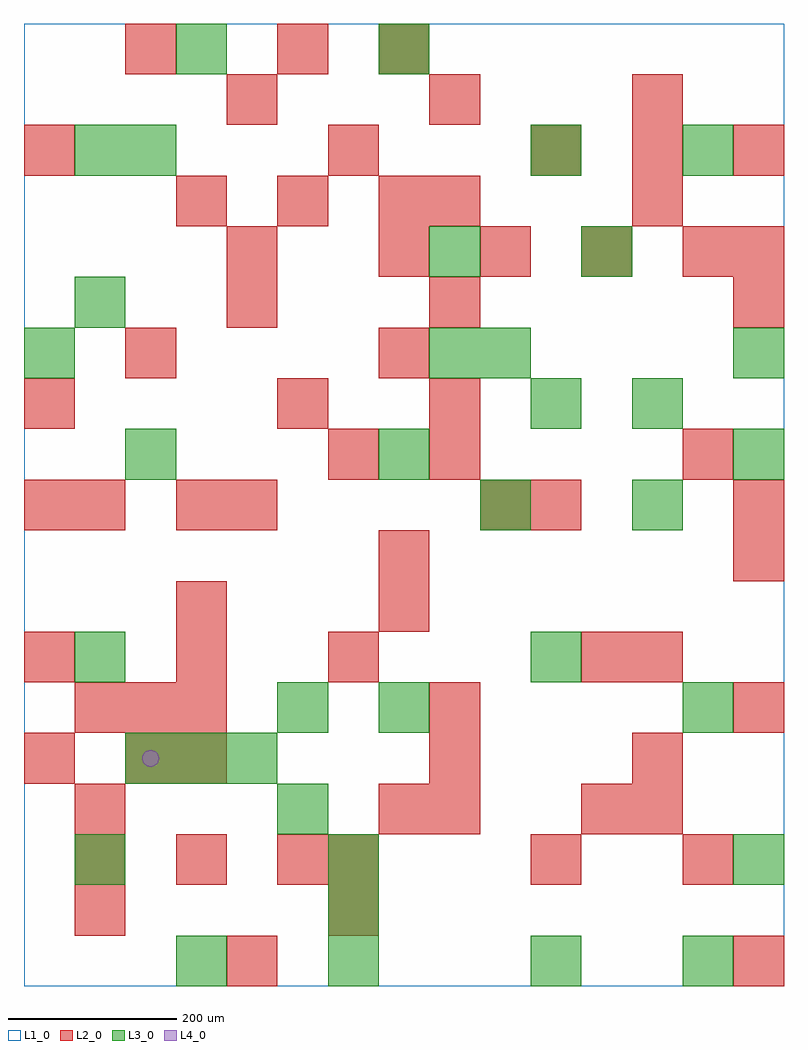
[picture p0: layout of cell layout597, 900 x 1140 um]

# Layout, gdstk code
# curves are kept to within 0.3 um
import gdstk
lib = gdstk.Library(unit=1e-6, precision=1e-09)
def R(c, l, rs):  # rectangles x0, y0, x1, y1
    for r in rs: c.add(gdstk.rectangle(r[:2], r[2:], *l))
def A(c, l, x, y, w, h, nx, ny, dx, dy):  # array of equal rectangles
    R(c, l, [(x+i*dx, y+j*dy, x+i*dx+w, y+j*dy+h) for i in range(nx) for j in range(ny)])
def P(c, l, *ps):  # polygons
    for p in ps: c.add(gdstk.Polygon(p, *l))
L1_0 = (1, 0)
L2_0 = (2, 0)
L3_0 = (3, 0)
L4_0 = (4, 0)

layout597 = lib.new_cell('layout597')
R(layout597, L1_0, [(0,0,900,1140)])
A(layout597, L2_0, 60, 120, 60, 60, 3, 1, 120, 0)
A(layout597, L2_0, 480, 180, 60, 60, 1, 3, 0, 60)
A(layout597, L2_0, 60, 300, 60, 60, 3, 1, 60, 0)
A(layout597, L2_0, 0, 360, 60, 60, 3, 1, 180, 0)
A(layout597, L2_0, 480, 660, 60, 60, 1, 3, 0, 120)
A(layout597, L2_0, 420, 840, 60, 60, 4, 1, 120, 0)
A(layout597, L2_0, 180, 900, 60, 60, 3, 1, 120, 0)
A(layout597, L2_0, 600, 960, 60, 60, 3, 1, 120, 0)
A(layout597, L2_0, 240, 1020, 60, 60, 3, 1, 240, 0)
R(layout597, L2_0, [(240,0,300,60), (840,0,900,60), (60,60,120,120), (360,60,420,120), (360,120,420,180), (600,120,660,180), (780,120,840,180), (60,180,120,240), (420,180,480,240), (660,180,720,240), (720,180,780,240), (0,240,60,300), (120,240,180,300), (180,240,240,300), (720,240,780,300), (840,300,900,360), (660,360,720,420), (720,360,780,420), (180,420,240,480), (420,420,480,480), (420,480,480,540), (840,480,900,540), (0,540,60,600), (60,540,120,600), (180,540,240,600), (240,540,300,600), (540,540,600,600), (600,540,660,600), (840,540,900,600), (360,600,420,660), (480,600,540,660), (780,600,840,660), (0,660,60,720), (300,660,360,720), (120,720,180,780), (420,720,480,780), (240,780,300,840), (840,780,900,840), (240,840,300,900), (840,840,900,900), (720,900,780,960), (0,960,60,1020), (360,960,420,1020), (120,1080,180,1140), (300,1080,360,1140), (420,1080,480,1140)])
A(layout597, L3_0, 360, 0, 60, 60, 1, 3, 0, 60)
A(layout597, L3_0, 120, 240, 60, 60, 3, 1, 60, 0)
A(layout597, L3_0, 600, 360, 60, 60, 1, 3, 0, 300)
R(layout597, L3_0, [(180,0,240,60), (600,0,660,60), (780,0,840,60), (60,120,120,180), (840,120,900,180), (300,180,360,240), (300,300,360,360), (420,300,480,360), (780,300,840,360), (60,360,120,420), (540,540,600,600), (720,540,780,600), (120,600,180,660), (420,600,480,660), (840,600,900,660), (720,660,780,720), (0,720,60,780), (480,720,540,780), (540,720,600,780), (840,720,900,780), (60,780,120,840), (480,840,540,900), (660,840,720,900), (60,960,120,1020), (120,960,180,1020), (780,960,840,1020), (180,1080,240,1140), (420,1080,480,1140)])
P(layout597, L4_0, [(160,270),(159.239,273.827),(157.071,277.071),(153.827,279.239),(150,280),(146.173,279.239),(142.929,277.071),(140.761,273.827),(140,270),(140.761,266.173),(142.929,262.929),(146.173,260.761),(150,260),(153.827,260.761),(157.071,262.929),(159.239,266.173)])

lib.write_gds('layout597.gds')
